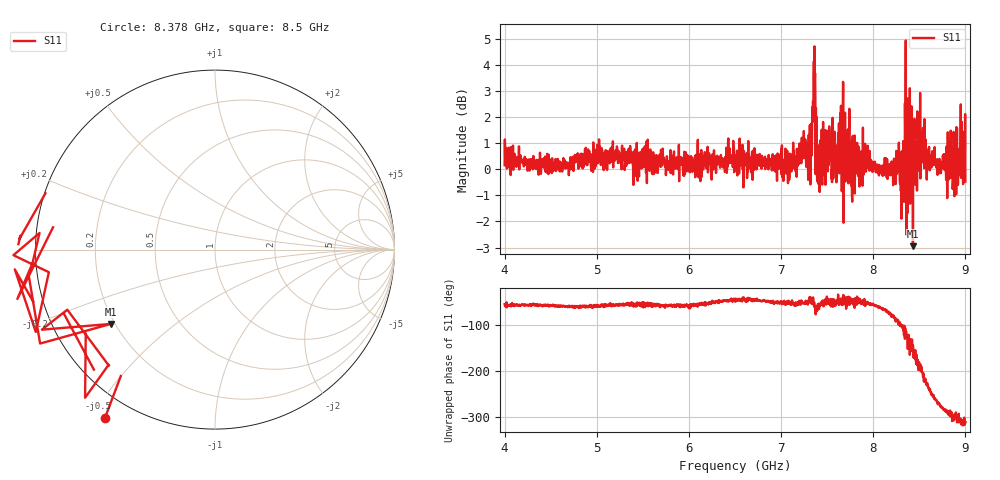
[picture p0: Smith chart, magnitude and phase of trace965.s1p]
! Created with skrf 1.8.0 (http://scikit-rf.org).
# Hz S RI R 50.0
!freq ReS11 ImS11
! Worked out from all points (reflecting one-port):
!   1601 points, 4 GHz to 9 GHz, reference 50 ohm
!   lowest |S11| = -2.9 dB at 8.431 GHz (marker M1), VSWR 5.95, Z = 9.24 - j15.5 ohm
!   phase of S11 starts at -56 deg and turns -256 deg over the sweep
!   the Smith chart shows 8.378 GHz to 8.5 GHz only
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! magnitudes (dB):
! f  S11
! 4 GHz  0.2
! 4.625 GHz  -0.1
! 5.25 GHz  0.3
! 5.875 GHz  0.4
! 6.5 GHz  0.5
! 7.125 GHz  0.6
! 7.294 GHz  -0.4
! 7.319 GHz  -0.6
! 7.347 GHz  2.6
! 7.362 GHz  4.7
! 7.397 GHz  -0.5
! 7.412 GHz  0.2
! 7.509 GHz  0.1
! 7.609 GHz  0.9
! 7.669 GHz  1.5
! 7.703 GHz  0.8
! 7.75 GHz  -0.1
! 7.769 GHz  -0.9
! 8.272 GHz  0.0
! 8.316 GHz  -0.5
! 8.334 GHz  0.1
! 8.375 GHz  0.8
! 8.381 GHz  -1.1
! 8.431 GHz  -2.9
! 8.503 GHz  1.1
! 8.722 GHz  -0.1
! 8.953 GHz  -0.3
! 9 GHz  -0.5
